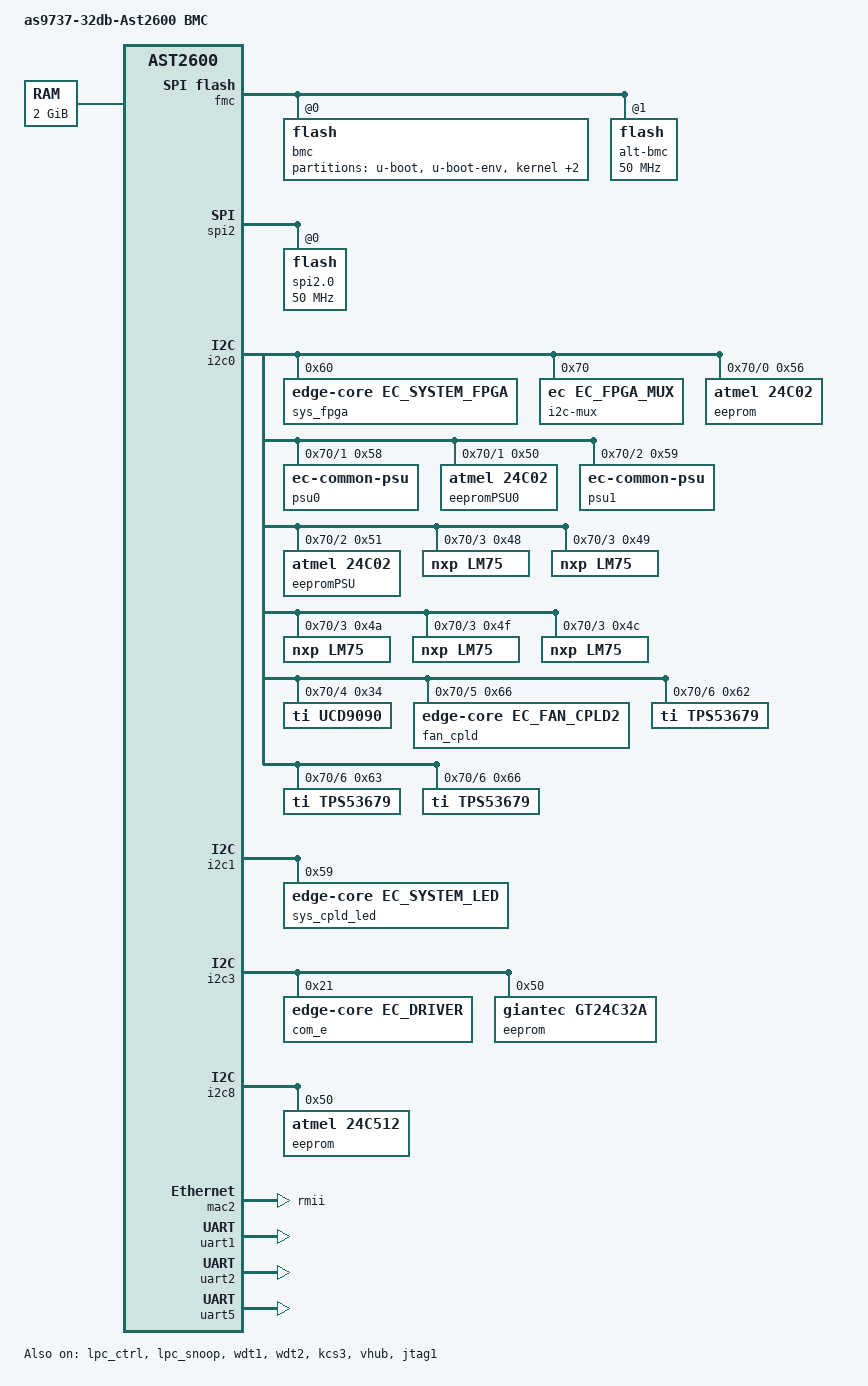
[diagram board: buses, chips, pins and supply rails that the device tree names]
// SPDX-License-Identifier: GPL-2.0-or-later
// Copyright (c) 2020 Accton Inc.

/dts-v1/;

#include "aspeed-g6.dtsi"
#include <dt-bindings/gpio/aspeed-gpio.h>
#include <dt-bindings/i2c/i2c.h>

/ {
	model = "as9737-32db-Ast2600 BMC";
	compatible = "edge-core,as9737-32db-bmc", "aspeed,ast2600";

	chosen {
		stdout-path = &uart5;
		bootargs = "console=ttyS4,115200n8 root=/dev/ram rw";
	};

	memory@80000000 {
		device_type = "memory";
		reg = <0x80000000 0x80000000>;
	};

	reserved-memory {
		#address-cells = <1>;
		#size-cells = <1>;
		ranges;

		flash_memory: region@ba000000 {
			no-map;
			reg = <0xb8000000 0x4000000>; /* 64M */
		};

		vga_memory: region@bf000000 {
			no-map;
			reg = <0xbf000000 0x01000000>;	/* 16M */
		};
	};
};

&fmc {
	status = "okay";
	flash@0 {
		status = "okay";
		m25p,fast-read;
		label = "bmc";

		partitions {
			compatible = "fixed-partitions";
			#address-cells = <1>;
			#size-cells = <1>;

			u-boot@0 {
				reg = <0x0 0xe0000>; // 896KB
				label = "u-boot";
			};

			u-boot-env@e0000 {
				reg = <0xe0000 0x20000>; // 128KB
				label = "u-boot-env";
			};

			kernel@100000 {
				reg = <0x100000 0x900000>; // 9 MB
				label = "kernel";
			};

			rofs@a00000 {
				reg = <0xa00000 0x1c00000>; // 28MB
				label = "rofs";
			};

			rwfs@2600000 {
				reg = <0x2600000 0x200000>; // 2MB
				label = "rwfs";
			};
		};
	};

	flash@1 {
		status = "okay";
		m25p,fast-read;
		label = "alt-bmc";
		spi-max-frequency = <50000000>;
	};
};

&spi2 {
	status = "okay";
	pinctrl-names = "default";
	pinctrl-0 = <&pinctrl_spi2_default>;

	flash@0 {
		status = "okay";
		wait-ready = "okay";
		m25p,fast-read;
		label = "spi2.0";
		spi-max-frequency = <50000000>;
	};
};

&i2c0 {
	status = "okay";

	sys_fpga@60 {
		compatible = "edge-core,ec_system_fpga";
		reg = <0x60>;
	};

	i2c-mux@70 {
		compatible = "ec,ec_fpga_mux";
		i2c-mux-idle-disconnect;
		reg = <0x70>;

		i2c0_70_chan0: i2c@0 {
			reg = <0>;

			eeprom@56 {
				compatible = "atmel,24c02";
				reg = <0x56>;
			};
		};

		i2c0_70_chan1: i2c@1 {
			reg = <1>;

			psu0@58 {
				compatible = "ec-common-psu";
				reg = <0x58>;
			};

			eepromPSU0@50 {
				compatible = "atmel,24c02";
				reg = <0x50>;
			};

		};

		i2c0_70_chan2: i2c@2 {
			reg = <2>;

			psu1@59 {
				compatible = "ec-common-psu";
				reg = <0x59>;
			};

			eepromPSU@51 {
				compatible = "atmel,24c02";
				reg = <0x51>;
			};

		};

		i2c0_70_chan3: i2c@3 {
			reg = <3>;

			lm75@48 {
				compatible = "nxp,lm75";
				reg = <0x48>;
			};

			lm75@49 {
				compatible = "nxp,lm75";
				reg = <0x49>;
			};

			lm75@4a {
				compatible = "nxp,lm75";
				reg = <0x4a>;
			};

			lm75@4f {
				compatible = "nxp,lm75";
				reg = <0x4f>;
			};

			lm75@4c {
				compatible = "nxp,lm75";
				reg = <0x4c>;
			};
		};

		i2c0_70_chan4: i2c@4 {
			reg = <4>;

			ucd9090@34 {
				compatible = "ti,ucd9090";
				reg = <0x34>;
			};

		};

		i2c0_70_chan5: i2c@5 {
			reg = <5>;

			fan_cpld@66 {
				compatible = "edge-core,ec_fan_cpld2";
				reg = <0x66>;
			};

		};

		i2c0_70_chan6: i2c@6 {
			reg = <6>;

			tps53679@62 {
				compatible = "ti,tps53679";
				reg = <0x62>;
			};

			tps53679@63 {
				compatible = "ti,tps53679";
				reg = <0x63>;
			};

			tps53679@66 {
				compatible = "ti,tps53679";
				reg = <0x66>;
			};

		};

	};
};

&i2c1 {
	status = "okay";

	sys_cpld_led@59 {
		compatible = "edge-core,ec_system_led";
		reg = <0x59>;

		psu1@0 {
			reg = <0x2a>;
			led-bit = /bits/ 8 <5>;
			led-mask = /bits/ 8 <7>;
			read-only;
		};
		psu2@1 {
			reg = <0x2a>;
			led-bit = /bits/ 8 <2>;
			led-mask = /bits/ 8 <7>;
			read-only;
		};
		fan@2 {
			reg = <0x2b>;
			led-bit = /bits/ 8 <5>;
			led-mask = /bits/ 8 <7>;
			read-only;
		};
		identify@3 {
			reg = <0x30>;
			led-bit = /bits/ 8 <6>;
			led-mask = /bits/ 8 <3>;
			no-timer;
		};
		diag@4 {
			reg = <0x31>;
			led-bit = /bits/ 8 <0>;
			led-mask = /bits/ 8 <3>;
			shutdown-color = /bits/ 8 <2>;
		};
	};
};

&i2c3 {
	status = "okay";

	com_e@21 {
		compatible = "edge-core,ec_driver";
		reg = <0x21>;
	};

	eeprom@50 {
		compatible = "giantec,gt24c32a", "atmel,24c32";
		reg = <0x50>;
		pagesize = <32>;
	};
};

&i2c8 {
	status = "okay";

	eeprom@50 {
		compatible = "atmel,24c512";
		reg = <0x50>;
	};
};

&mac2 {
	status = "okay";

	use-ncsi;
	pinctrl-names = "default";
	pinctrl-0 = <&pinctrl_rmii3_default>;
	clocks = <&syscon ASPEED_CLK_GATE_MAC3CLK>;
	clock-names = "MACCLK", "RCLK";
	phy-mode = "rmii";
};

&uart1 {
	status = "okay";
};

&uart2 {
	status = "okay";
};

&uart5 {
	status = "okay";
};

&lpc_ctrl {
	status = "okay";
};

&lpc_snoop {
	status = "okay";
	snoop-ports = <0x80>;
};

&wdt1 {
	status = "okay";
};

&wdt2 {
	status = "okay";
};

&pinctrl {
	/* Hog these as no driver is probed for the entire LPC block */
	pinctrl-names = "default";
	pinctrl-0 = <&pinctrl_lpc_default>,
		    <&pinctrl_lsirq_default>;
};

&kcs3 {
	// BMC KCS channel 3
	status = "okay";
	kcs_addr = <0xca2>;
};

&vhub {
	status = "okay";
};

&jtag1 {
	status = "okay";
};
